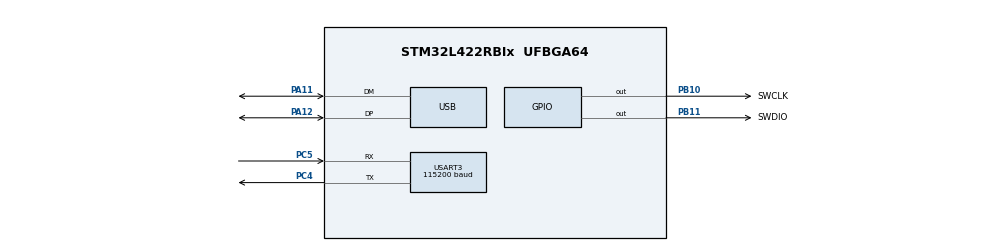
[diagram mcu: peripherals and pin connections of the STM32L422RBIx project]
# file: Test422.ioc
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Dma.Request0=USART3_RX
Dma.Request1=USART3_TX
Dma.USART3_RX.0.Direction=DMA_PERIPH_TO_MEMORY
Dma.USART3_RX.0.Instance=DMA1_Channel3
Dma.USART3_RX.0.MemDataAlignment=DMA_MDATAALIGN_BYTE
Dma.USART3_RX.0.MemInc=DMA_MINC_ENABLE
Dma.USART3_RX.0.Mode=DMA_CIRCULAR
Dma.USART3_RX.0.PeriphDataAlignment=DMA_PDATAALIGN_BYTE
Dma.USART3_RX.0.PeriphInc=DMA_PINC_DISABLE
Dma.USART3_RX.0.Priority=DMA_PRIORITY_MEDIUM
Dma.USART3_TX.1.Direction=DMA_MEMORY_TO_PERIPH
Dma.USART3_TX.1.Instance=DMA1_Channel2
Dma.USART3_TX.1.MemDataAlignment=DMA_MDATAALIGN_BYTE
Dma.USART3_TX.1.MemInc=DMA_MINC_ENABLE
Dma.USART3_TX.1.Mode=DMA_NORMAL
Dma.USART3_TX.1.PeriphDataAlignment=DMA_PDATAALIGN_BYTE
Dma.USART3_TX.1.PeriphInc=DMA_PINC_DISABLE
Dma.USART3_TX.1.Priority=DMA_PRIORITY_LOW
Mcu.Family=STM32L4
Mcu.Name=STM32L422RBIx
Mcu.Package=UFBGA64
NVIC.PriorityGroup=NVIC_PRIORITYGROUP_4
NVIC.USB_IRQn=true\:0\:0\:false\:false\:true\:false\:true\:true
PA11.Mode=Device
PA11.Signal=USB_DM
PA12.Mode=Device
PA12.Signal=USB_DP
PA13\ (JTMS/SWDIO).Mode=Serial_Wire
PA13\ (JTMS/SWDIO).Signal=SYS_JTMS-SWDIO
PA14\ (JTCK/SWCLK).Mode=Serial_Wire
PA14\ (JTCK/SWCLK).Signal=SYS_JTCK-SWCLK
PB10.GPIO_Label=SWCLK
PB10.GPIO_Speed=GPIO_SPEED_FREQ_HIGH
PB10.Signal=GPIO_Output
PB11.GPIO_Label=SWDIO
PB11.GPIO_PuPd=GPIO_PULLUP
PB11.GPIO_Speed=GPIO_SPEED_FREQ_HIGH
PB11.PinState=GPIO_PIN_SET
PB11.Signal=GPIO_Output
PC4.Mode=Asynchronous
PC4.Signal=USART3_TX
PC5.Mode=Asynchronous
PC5.Signal=USART3_RX
ProjectManager.HeapSize=0x400
ProjectManager.StackSize=0x800
ProjectManager.TargetToolchain=MDK-ARM V5.32
RCC.ADCFreq_Value=80000000
RCC.AHBFreq_Value=80000000
RCC.APB1Freq_Value=80000000
RCC.APB1TimFreq_Value=80000000
RCC.APB2Freq_Value=80000000
RCC.APB2TimFreq_Value=80000000
RCC.CK48CLockSelection=RCC_USBCLKSOURCE_HSI48
RCC.CortexFreq_Value=80000000
RCC.HCLKFreq_Value=80000000
RCC.HSE_VALUE=8000000
RCC.HSI48_VALUE=48000000
RCC.HSI_VALUE=16000000
RCC.LSE_VALUE=32768
RCC.MSI_VALUE=4000000
RCC.PLLN=10
RCC.PLLSourceVirtual=RCC_PLLSOURCE_HSI
RCC.SYSCLKFreq_VALUE=80000000
RCC.SYSCLKSource=RCC_SYSCLKSOURCE_PLLCLK
RCC.USBFreq_Value=48000000
RCC.VCOOutputFreq_Value=160000000
TIM6.Prescaler=40000
USART3.BaudRate=115200
USART3.OverSampling=UART_OVERSAMPLING_16
USART3.VirtualMode-Asynchronous=VM_ASYNC
USB_DEVICE.CLASS_NAME_FS=CDC
USB_DEVICE.VirtualMode=Cdc
USB_DEVICE.VirtualModeFS=Cdc_FS
VP_TIM6_VS_ClockSourceINT.Mode=Enable_Timer
VP_USB_DEVICE_VS_USB_DEVICE_CDC_FS.Mode=CDC_FS
board=custom

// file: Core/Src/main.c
/* USER CODE BEGIN Header */
/**
 ******************************************************************************
 * @file           : main.c
 * @brief          : Main program body
 ******************************************************************************
 * @attention
 *
 * Copyright (c) 2022 STMicroelectronics.
 * All rights reserved.
 *
 * This software is licensed under terms that can be found in the LICENSE file
 * in the root directory of this software component.
 * If no LICENSE file comes with this software, it is provided AS-IS.
 *
 ******************************************************************************
 */
/* USER CODE END Header */
#include "main.h"
#include "usb_device.h"

/* USER CODE BEGIN Includes */
#include <string.h>
#include "usbd_cdc_if.h"
#include <stdbool.h>
#ifdef __STDC_NO_ATOMICS__ // since gcc 4.9
#error "Do not support C11 atomic"
#else
#include <stdatomic.h>
#endif
#include "swd.h"
/* USER CODE END Includes */

/* USER CODE BEGIN PTD */
typedef void (*cdc_writeFirm)(void);
/* USER CODE END PTD */

/* USER CODE BEGIN PV */
LL_USART_InitTypeDef USART_InitStruct = {0};

#define UART_TX_SIZE 2048
#define UART_RX_SIZE 4096

uint8_t TX_USART_Buffer[UART_TX_SIZE];
atomic_uint TxInPosition;
atomic_uint TxOutPosition;
uint8_t RX_USART_Buffer[UART_RX_SIZE];
atomic_uint RxOutPosition;

atomic_bool bCDCTXGoing;
atomic_bool bTXGoing;
bool bWorking;

uint8_t Firmware_Buffer[10252];
atomic_uint uFirmInPos;
uint32_t uFirmOutPos;

atomic_uint CDCRxCallback;

uint32_t uFirmWritePos;
uint32_t uFirmSize;
uint32_t uFirmWritten;

/* USER CODE END PV */

void SystemClock_Config(void);
static void MX_GPIO_Init(void);
static void MX_DMA_Init(void);
static void MX_USART3_UART_Init(void);
static void MX_TIM6_Init(void);

/* USER CODE BEGIN 0 */

// USB to UART Begin
void CheckRxDataAndSendToCDC(void)
{
  uint32_t ulRxOutPosition = atomic_load(&RxOutPosition);
  uint16_t RxInPosition = sizeof(RX_USART_Buffer) - LL_DMA_GetDataLength(DMA1, LL_DMA_CHANNEL_3);
  int16_t iMinus = RxInPosition - ulRxOutPosition;
  atomic_store(&bCDCTXGoing, true);
  if (iMinus == 0)
    atomic_store(&bCDCTXGoing, false);
  else if (iMinus > 0)
  {
    CDC_Transmit_FS(RX_USART_Buffer + ulRxOutPosition, iMinus);
    ulRxOutPosition += iMinus;
  }
  else
  {
    // Send data close to tail first
    uint16_t ReceivedData = sizeof(RX_USART_Buffer) - ulRxOutPosition;
    CDC_Transmit_FS(RX_USART_Buffer + ulRxOutPosition, ReceivedData);
    ulRxOutPosition = 0;
  }
  atomic_store(&RxOutPosition, ulRxOutPosition);
}

void LL_UART_Tx(uint8_t *pBuffer, uint16_t uLen)
{
  LL_DMA_DisableChannel(DMA1, LL_DMA_CHANNEL_2);
  LL_DMA_SetDataLength(DMA1, LL_DMA_CHANNEL_2, uLen);
  LL_DMA_SetMemoryAddress(DMA1, LL_DMA_CHANNEL_2, (uint32_t)pBuffer);

  LL_DMA_ClearFlag_TC4(DMA1);
  LL_DMA_EnableIT_TC(DMA1, LL_DMA_CHANNEL_2);
  LL_DMA_EnableChannel(DMA1, LL_DMA_CHANNEL_2);
}

void CheckTxDataAndSendToTarget(void)
{
  uint32_t ulTxOutPosition = atomic_load(&TxOutPosition);
  int32_t iMinus = atomic_load(&TxInPosition) - ulTxOutPosition;
  atomic_store(&bTXGoing, true);
  if (iMinus == 0)
    atomic_store(&bTXGoing, false);
  else if (iMinus > 0)
  {
    LL_UART_Tx(TX_USART_Buffer + ulTxOutPosition, iMinus);
    ulTxOutPosition += iMinus;
  }
  else
  {
    uint16_t uSizeTx = sizeof(TX_USART_Buffer) - ulTxOutPosition;
    LL_UART_Tx(TX_USART_Buffer + ulTxOutPosition, uSizeTx);
    ulTxOutPosition = 0;
  }
  atomic_store(&TxOutPosition, ulTxOutPosition);
}

void DMA1_Channel2_IRQHandler(void)
{
  if (LL_DMA_IsActiveFlag_TC2(DMA1))
  {
    LL_DMA_ClearFlag_TC2(DMA1);
    CheckTxDataAndSendToTarget();
  }
}

void TickRefresh(void)
{
  if (bWorking)
  {
    if (!atomic_load(&bCDCTXGoing))
      CheckRxDataAndSendToCDC();
    if (!atomic_load(&bTXGoing))
      CheckTxDataAndSendToTarget();
  }
}

void CDCTxCmplt(void)
{
  CheckRxDataAndSendToCDC();
}

void TxCmplt(void)
{
  CheckTxDataAndSendToTarget();
}

void CDCRxCmplt(uint8_t *pBuffer, uint16_t uLen)
{
  uint32_t ulTxInPosition = atomic_load(&TxInPosition);
  if (ulTxInPosition + uLen < sizeof(TX_USART_Buffer))
  {
    memcpy(TX_USART_Buffer + ulTxInPosition, pBuffer, uLen);
    ulTxInPosition += uLen;
  }
  else
  {
    uint16_t uFirstPart = sizeof(TX_USART_Buffer) - ulTxInPosition;
    memcpy(TX_USART_Buffer + ulTxInPosition, pBuffer, uFirstPart);
    memcpy(TX_USART_Buffer, pBuffer + uFirstPart, uLen - uFirstPart);
    ulTxInPosition = uLen - uFirstPart;
  }
  atomic_store(&TxInPosition, ulTxInPosition);
}

void StartBridge(void)
{
  bWorking = true;
  atomic_store(&TxInPosition, 0);
  atomic_store(&TxOutPosition, 0);
  atomic_store(&RxOutPosition, 0);
  atomic_store(&bCDCTXGoing, false);
  atomic_store(&bTXGoing, false);

  NVIC_SetPriority(DMA1_Channel2_IRQn, NVIC_EncodePriority(NVIC_GetPriorityGrouping(), 0, 0));
  NVIC_EnableIRQ(DMA1_Channel2_IRQn);

  LL_USART_EnableDMAReq_RX(USART3);
  LL_USART_EnableDMAReq_TX(USART3);

  LL_DMA_SetPeriphAddress(DMA1, LL_DMA_CHANNEL_2, LL_USART_DMA_GetRegAddr(USART3, LL_USART_DMA_REG_DATA_TRANSMIT));
  LL_DMA_SetPeriphAddress(DMA1, LL_DMA_CHANNEL_3, LL_USART_DMA_GetRegAddr(USART3, LL_USART_DMA_REG_DATA_RECEIVE));
  LL_DMA_SetMemoryAddress(DMA1, LL_DMA_CHANNEL_3, (uint32_t)RX_USART_Buffer);
  LL_DMA_SetDataLength(DMA1, LL_DMA_CHANNEL_3, sizeof(RX_USART_Buffer));
  LL_DMA_EnableChannel(DMA1, LL_DMA_CHANNEL_3);
}

void StopBridge(void)
{
  LL_DMA_DisableChannel(DMA1, LL_DMA_CHANNEL_3);
  LL_DMA_DisableChannel(DMA1, LL_DMA_CHANNEL_2);
  LL_USART_DisableDMAReq_RX(USART3);
  LL_USART_DisableDMAReq_TX(USART3);
  NVIC_DisableIRQ(DMA1_Channel2_IRQn);
  bWorking = false;
}
// USB to UART End

uint32_t uintotal;
void CDCFirmWriteRxCmplt(uint8_t *pBuffer, uint16_t uLen)
{
  uint32_t uluFirmInPos = atomic_load(&uFirmInPos);
  if (uluFirmInPos + uLen < sizeof(Firmware_Buffer))
  {
    memcpy(Firmware_Buffer + uluFirmInPos, pBuffer, uLen);
    uluFirmInPos += uLen;
  }
  else
  {
    uint16_t uFirstPart = sizeof(Firmware_Buffer) - uluFirmInPos;
    memcpy(Firmware_Buffer + uluFirmInPos, pBuffer, uFirstPart);
    memcpy(Firmware_Buffer, pBuffer + uFirstPart, uLen - uFirstPart);
    uluFirmInPos = uLen - uFirstPart;
  }
  uintotal += uLen;
  atomic_store(&uFirmInPos, uluFirmInPos);
}

bool CDCGotReceiveData(uint8_t *dest, const uint32_t size, const bool bBlocking)
{
  if (size == 0)
    return true;
  uint32_t ReceivedData;
  do
  {
    uint32_t uInPos = atomic_load(&uFirmInPos);
    if (uInPos >= uFirmOutPos)
      ReceivedData = uInPos - uFirmOutPos;
    else
      ReceivedData = uInPos + (sizeof(Firmware_Buffer) - uFirmOutPos);
    if (ReceivedData >= size)
    {
      if (uInPos > uFirmOutPos)
      {
        memcpy(dest, Firmware_Buffer + uFirmOutPos, size);
        uFirmOutPos += size;
      }
      else
      {
        uint32_t uFirstPart = sizeof(Firmware_Buffer) - uFirmOutPos;
        memcpy(dest, Firmware_Buffer + uFirmOutPos, uFirstPart);
        memcpy(dest + uFirstPart, Firmware_Buffer, size - uFirstPart);
        uFirmOutPos = size - uFirstPart;
      }
      return true;
    }
  } while (bBlocking);
  return false;
}

void SendResultToCDC(uint16_t uResult)
{
  CDC_Transmit_FS((uint8_t *)&uResult, 2);
}

uint8_t uBufferFirm[10240];
void OnFirmRxForNewRecv(void)
{
  CDCGotReceiveData(uBufferFirm, 4, true);
  uint16_t uRecvLen, uCommand;
  memcpy(&uRecvLen, uBufferFirm, 2);
  memcpy(&uCommand, uBufferFirm + 2, 2);
  CDCGotReceiveData(uBufferFirm, uRecvLen, true);
  if (uCommand == 0x3)
  {
    memcpy(&uFirmWritePos, uBufferFirm, 4);
    memcpy(&uFirmSize, uBufferFirm + 4, 4);
    uRecvLen -= 8;
    uFirmWritten = 0;
    // printf("Start Firm %08X %d\n", uFirmWritePos, uFirmSize);
    bool bSuccess = true;

    if (!SW_InitDebug())
      bSuccess = false;

    if (bSuccess && !SW_HaltCore())
      bSuccess = false;

    if (bSuccess)
    {
      uint8_t *pRegs = uBufferFirm + 8;
      while (uRecvLen >= 8)
      {
        uint32_t uData, uAddr;
        memcpy(&uData, pRegs, 4);
        memcpy(&uAddr, pRegs + 4, 4);
        if (!SW_WriteData(uAddr, uData))
        {
          bSuccess = false;
          break;
        }
        uint32_t uGetData;
        if (!SW_ReadData(uAddr, &uGetData) && uGetData != uData)
        {
          bSuccess = false;
          break;
        }
        uRecvLen -= 8;
        pRegs += 8;
        // printf("Write %08X -> %08X\n", uData, uAddr);
      }
    }
    if (bSuccess)
      SendResultToCDC(0);
    else
      SendResultToCDC(1);
  }
  else if (uCommand == 0x5)
  {
    do
    {
      uint32_t uWriteSize = uRecvLen;
      if (uRecvLen & 0x03)
        uWriteSize = uRecvLen & 0xFFFFFFFC + 4;
      if (!SW_WriteMem(uFirmWritePos + uFirmWritten, (uint32_t *)uBufferFirm, uRecvLen))
        break;
      // printf("Write Firm %08X, %d %d\n", uFirmWritePos + uFirmWritten, uWriteSize, uRecvLen);
      uFirmWritten += uRecvLen;

      if (uFirmWritten == uFirmSize)
      {
        // printf("Write Finish\n");
        uint32_t uMSP, uReset;
        if (!SW_ReadData(uFirmWritePos, &uMSP))
          break;
        if (!SW_ReadData(uFirmWritePos + 4, &uReset))
          break;
        uReset &= 0xFFFFFFFE;
        if (!SW_WriteCoreReg(13, uMSP))
          break;
        if (!SW_WriteCoreReg(15, uReset))
          break;
        if (!SW_WriteData(0xE000ED08, uFirmWritePos))
          break;
        // printf("VTOR SP PC %08X %08X %08X\n", uFirmWritePos, uMSP, uReset);
        if (!SW_RestoreCore())
          break;
        SendIdle();
        atomic_store(&CDCRxCallback, 0);
      }
      SendResultToCDC(0);
    } while (0);
    SendResultToCDC(1);
  }
}

void OnBaudrateChange(uint32_t uBandrate)
{
  if (uBandrate > 2500)
    RegisterTxRxCallback(CDCTxCmplt, CDCRxCmplt);
  else
  {
    atomic_store(&CDCRxCallback, (uint32_t)OnFirmRxForNewRecv);
    RegisterTxRxCallback(NULL, CDCFirmWriteRxCmplt);
  }
}

/* USER CODE END 0 */

int main(void)
{

  /* MCU Configuration--------------------------------------------------------*/

  /* Reset of all peripherals, Initializes the Flash interface and the Systick. */
  HAL_Init();

  /* USER CODE BEGIN Init */
  // printf("Start!\n");
  /* USER CODE END Init */

  /* Configure the system clock */
  SystemClock_Config();

  /* USER CODE BEGIN SysInit */
  atomic_init(&TxInPosition, 0);
  atomic_init(&TxOutPosition, 0);
  atomic_init(&RxOutPosition, 0);
  atomic_init(&bCDCTXGoing, false);
  atomic_init(&bTXGoing, false);
  atomic_init(&CDCRxCallback, 0);
  atomic_init(&uFirmInPos, 0);
  uFirmOutPos = 0;
  uFirmWritePos = 0;
  uFirmSize = 0;
  /* USER CODE END SysInit */

  /* Initialize all configured peripherals */
  MX_GPIO_Init();
  MX_DMA_Init();
  MX_USB_DEVICE_Init();
  MX_USART3_UART_Init();
  MX_TIM6_Init();
  /* USER CODE BEGIN 2 */
  HAL_Delay(100);
  LL_TIM_EnableCounter(TIM6);
  SetBaudRateChangeCallback(OnBaudrateChange);
  StartBridge();

  // if (!SW_InitDebug())
  //   printf("Failed to Init SWD\n");
  // else
  // {
  //   HAL_Delay(10);
  //   if (!SW_HaltCore())
  //     printf("Failed to halt\n");

  //   uint32_t *pCode = (uint32_t *)0x08013100;
  //   if (!SW_WriteMem(0x00000000, pCode, 0xCEB0))
  //     printf("Failed to write\n");

  //   if (!SW_WriteCoreReg(13, *pCode))
  //     printf("Failed to Write REG 13\n");
  //   if (!SW_WriteCoreReg(15, *(pCode + 1)))
  //     printf("Failed to Write REG 15\n");

  //   if (!SW_WriteData(0xE000ED08, 0x00000000))
  //     printf("Failed to SET VTOR\n");

  //   uint32_t uBuffer[16];
  //   if (!SW_ReadData(0xE000ED08, uBuffer) || uBuffer[0] != 0x00000000)
  //     printf("Wrong VTOR\n");

  //   if (!SW_ReadCoreReg(13, uBuffer))
  //     printf("Failed to REG 13\n");
  //   if (!SW_ReadCoreReg(15, uBuffer + 1))
  //     printf("Failed to REG 15\n");

  //   if (!SW_ReadData(DBG_ICSR, uBuffer + 2))
  //     printf("Failed to ICSR\n");

  //   printf("SP PC %08X %08X ICSR %08X\n", uBuffer[0], uBuffer[1], uBuffer[2]);

  //   if (!SW_RestoreCore())
  //     printf("Failed to Go SWD\n");
  //   SendIdle();

  //   while (1)
  //   {
  //     HAL_Delay(1000);
  //     uint8_t uBuffer8[16];
  //     if (!SW_ReadCoreReg(13, (uint32_t*)uBuffer8))
  //       printf("Failed to REG 13\n");
  //     if (!SW_ReadCoreReg(15, (uint32_t*)(uBuffer8 + 4)))
  //       printf("Failed to REG 15\n");

  //     if (!SW_ReadData(DBG_ICSR, (uint32_t*)(uBuffer8 + 8)))
  //       printf("Failed to ICSR\n");

  //     printf("SP PC %08X %08X ICSR %08X\n", *((uint32_t *)(uBuffer8)), *((uint32_t *)(uBuffer8 + 4)), *((uint32_t *)(uBuffer8 + 8)));
  //   }
  // }
  // LL_GPIO_SetPinMode(SWDIO_GPIO_Port, SWDIO_Pin, LL_GPIO_MODE_INPUT);
  // LL_GPIO_SetPinMode(SWCLK_GPIO_Port, SWCLK_Pin, LL_GPIO_MODE_INPUT);

  /* USER CODE END 2 */

  /* Infinite loop */
  while (1)
  {

    /* USER CODE BEGIN 3 */
    uint32_t uCallback = atomic_load(&CDCRxCallback);
    if (uCallback != 0)
    {
      cdc_writeFirm pCallback = (cdc_writeFirm)uCallback;
      pCallback();
    }
  }
  /* USER CODE END 3 */
}

void SystemClock_Config(void)
{
  LL_FLASH_SetLatency(LL_FLASH_LATENCY_4);
  while (LL_FLASH_GetLatency() != LL_FLASH_LATENCY_4)
  {
  }
  LL_PWR_SetRegulVoltageScaling(LL_PWR_REGU_VOLTAGE_SCALE1);
  LL_RCC_HSI_Enable();

  /* Wait till HSI is ready */
  while (LL_RCC_HSI_IsReady() != 1)
  {
  }
  LL_RCC_HSI_SetCalibTrimming(64);
  LL_RCC_HSI48_Enable();

  /* Wait till HSI48 is ready */
  while (LL_RCC_HSI48_IsReady() != 1)
  {
  }
  LL_RCC_PLL_ConfigDomain_SYS(LL_RCC_PLLSOURCE_HSI, LL_RCC_PLLM_DIV_1, 10, LL_RCC_PLLR_DIV_2);
  LL_RCC_PLL_EnableDomain_SYS();
  LL_RCC_PLL_Enable();

  /* Wait till PLL is ready */
  while (LL_RCC_PLL_IsReady() != 1)
  {
  }
  LL_RCC_SetSysClkSource(LL_RCC_SYS_CLKSOURCE_PLL);

  /* Wait till System clock is ready */
  while (LL_RCC_GetSysClkSource() != LL_RCC_SYS_CLKSOURCE_STATUS_PLL)
  {
  }
  LL_RCC_SetAHBPrescaler(LL_RCC_SYSCLK_DIV_1);
  LL_RCC_SetAPB1Prescaler(LL_RCC_APB1_DIV_1);
  LL_RCC_SetAPB2Prescaler(LL_RCC_APB2_DIV_1);
  LL_SetSystemCoreClock(80000000);

  /* Update the time base */
  if (HAL_InitTick(TICK_INT_PRIORITY) != HAL_OK)
  {
    Error_Handler();
  }
}

static void MX_TIM6_Init(void)
{

  LL_TIM_InitTypeDef TIM_InitStruct = {0};

  /* Peripheral clock enable */
  LL_APB1_GRP1_EnableClock(LL_APB1_GRP1_PERIPH_TIM6);

  TIM_InitStruct.Prescaler = 1 - 1;
  TIM_InitStruct.CounterMode = LL_TIM_COUNTERMODE_UP;
  TIM_InitStruct.Autoreload = 65535;
  LL_TIM_Init(TIM6, &TIM_InitStruct);
  LL_TIM_DisableARRPreload(TIM6);
  LL_TIM_SetTriggerOutput(TIM6, LL_TIM_TRGO_RESET);
  LL_TIM_DisableMasterSlaveMode(TIM6);
}

static void MX_USART3_UART_Init(void)
{

  // LL_USART_InitTypeDef USART_InitStruct = {0};
  LL_GPIO_InitTypeDef GPIO_InitStruct = {0};
  LL_RCC_SetUSARTClockSource(LL_RCC_USART3_CLKSOURCE_PCLK1);

  /* Peripheral clock enable */
  LL_APB1_GRP1_EnableClock(LL_APB1_GRP1_PERIPH_USART3);
  LL_AHB2_GRP1_EnableClock(LL_AHB2_GRP1_PERIPH_GPIOC);
  /**USART3 GPIO Configuration
  PC4   ------> USART3_TX
  PC5   ------> USART3_RX
  */
  GPIO_InitStruct.Pin = LL_GPIO_PIN_4 | LL_GPIO_PIN_5;
  GPIO_InitStruct.Mode = LL_GPIO_MODE_ALTERNATE;
  GPIO_InitStruct.Speed = LL_GPIO_SPEED_FREQ_VERY_HIGH;
  GPIO_InitStruct.OutputType = LL_GPIO_OUTPUT_PUSHPULL;
  GPIO_InitStruct.Pull = LL_GPIO_PULL_NO;
  GPIO_InitStruct.Alternate = LL_GPIO_AF_7;
  LL_GPIO_Init(GPIOC, &GPIO_InitStruct);

  /* USART3 DMA Init */

  /* USART3_RX Init */
  LL_DMA_SetPeriphRequest(DMA1, LL_DMA_CHANNEL_3, LL_DMA_REQUEST_2);
  LL_DMA_SetDataTransferDirection(DMA1, LL_DMA_CHANNEL_3, LL_DMA_DIRECTION_PERIPH_TO_MEMORY);
  LL_DMA_SetChannelPriorityLevel(DMA1, LL_DMA_CHANNEL_3, LL_DMA_PRIORITY_MEDIUM);
  LL_DMA_SetMode(DMA1, LL_DMA_CHANNEL_3, LL_DMA_MODE_CIRCULAR);
  LL_DMA_SetPeriphIncMode(DMA1, LL_DMA_CHANNEL_3, LL_DMA_PERIPH_NOINCREMENT);
  LL_DMA_SetMemoryIncMode(DMA1, LL_DMA_CHANNEL_3, LL_DMA_MEMORY_INCREMENT);
  LL_DMA_SetPeriphSize(DMA1, LL_DMA_CHANNEL_3, LL_DMA_PDATAALIGN_BYTE);
  LL_DMA_SetMemorySize(DMA1, LL_DMA_CHANNEL_3, LL_DMA_MDATAALIGN_BYTE);

  /* USART3_TX Init */
  LL_DMA_SetPeriphRequest(DMA1, LL_DMA_CHANNEL_2, LL_DMA_REQUEST_2);
  LL_DMA_SetDataTransferDirection(DMA1, LL_DMA_CHANNEL_2, LL_DMA_DIRECTION_MEMORY_TO_PERIPH);
  LL_DMA_SetChannelPriorityLevel(DMA1, LL_DMA_CHANNEL_2, LL_DMA_PRIORITY_LOW);
  LL_DMA_SetMode(DMA1, LL_DMA_CHANNEL_2, LL_DMA_MODE_NORMAL);
  LL_DMA_SetPeriphIncMode(DMA1, LL_DMA_CHANNEL_2, LL_DMA_PERIPH_NOINCREMENT);
  LL_DMA_SetMemoryIncMode(DMA1, LL_DMA_CHANNEL_2, LL_DMA_MEMORY_INCREMENT);
  LL_DMA_SetPeriphSize(DMA1, LL_DMA_CHANNEL_2, LL_DMA_PDATAALIGN_BYTE);

  LL_DMA_SetMemorySize(DMA1, LL_DMA_CHANNEL_2, LL_DMA_MDATAALIGN_BYTE);

  USART_InitStruct.BaudRate = 115200;
  USART_InitStruct.DataWidth = LL_USART_DATAWIDTH_8B;
  USART_InitStruct.StopBits = LL_USART_STOPBITS_1;
  USART_InitStruct.Parity = LL_USART_PARITY_NONE;
  USART_InitStruct.TransferDirection = LL_USART_DIRECTION_TX_RX;
  USART_InitStruct.HardwareFlowControl = LL_USART_HWCONTROL_NONE;
  USART_InitStruct.OverSampling = LL_USART_OVERSAMPLING_16;
  LL_USART_Init(USART3, &USART_InitStruct);
  LL_USART_ConfigAsyncMode(USART3);
  LL_USART_Enable(USART3);
}

static void MX_DMA_Init(void)
{

  /* Init with LL driver */
  /* DMA controller clock enable */
  LL_AHB1_GRP1_EnableClock(LL_AHB1_GRP1_PERIPH_DMA1);
}

static void MX_GPIO_Init(void)
{
  LL_GPIO_InitTypeDef GPIO_InitStruct = {0};

  /* GPIO Ports Clock Enable */
  LL_AHB2_GRP1_EnableClock(LL_AHB2_GRP1_PERIPH_GPIOA);
  LL_AHB2_GRP1_EnableClock(LL_AHB2_GRP1_PERIPH_GPIOB);
  LL_AHB2_GRP1_EnableClock(LL_AHB2_GRP1_PERIPH_GPIOC);

  /**/
  LL_GPIO_ResetOutputPin(SWCLK_GPIO_Port, SWCLK_Pin);

  /**/
  LL_GPIO_SetOutputPin(SWDIO_GPIO_Port, SWDIO_Pin);

  /**/
  GPIO_InitStruct.Pin = SWCLK_Pin;
  GPIO_InitStruct.Mode = LL_GPIO_MODE_OUTPUT;
  GPIO_InitStruct.Speed = LL_GPIO_SPEED_FREQ_HIGH;
  GPIO_InitStruct.OutputType = LL_GPIO_OUTPUT_PUSHPULL;
  GPIO_InitStruct.Pull = LL_GPIO_PULL_NO;
  LL_GPIO_Init(SWCLK_GPIO_Port, &GPIO_InitStruct);

  /**/
  GPIO_InitStruct.Pin = SWDIO_Pin;
  GPIO_InitStruct.Mode = LL_GPIO_MODE_OUTPUT;
  GPIO_InitStruct.Speed = LL_GPIO_SPEED_FREQ_HIGH;
  GPIO_InitStruct.OutputType = LL_GPIO_OUTPUT_PUSHPULL;
  GPIO_InitStruct.Pull = LL_GPIO_PULL_NO;
  LL_GPIO_Init(SWDIO_GPIO_Port, &GPIO_InitStruct);
}

void Error_Handler(void)
{
  __disable_irq();
  while (1)
  {
  }
}
